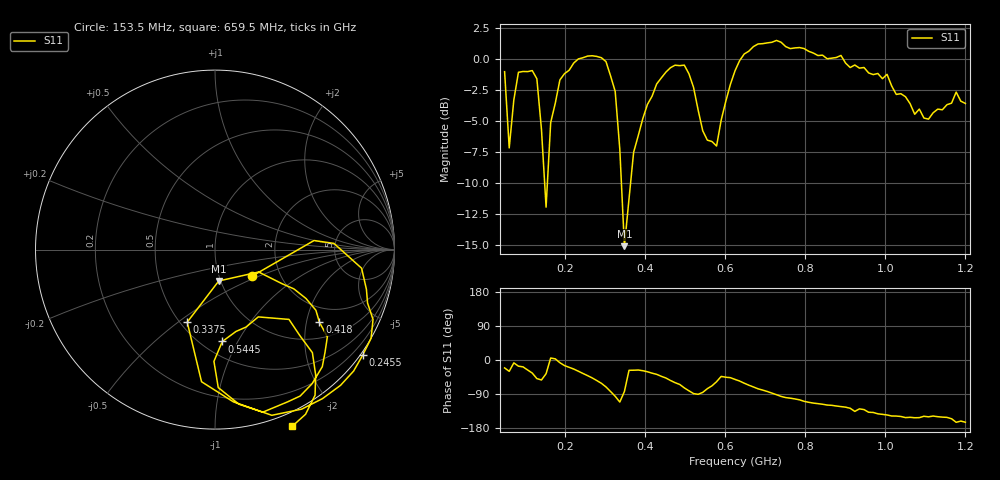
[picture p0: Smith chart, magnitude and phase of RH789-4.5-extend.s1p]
# HZ S RI R 50
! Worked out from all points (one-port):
!   101 points, 50 MHz to 1.2 GHz, reference 50 ohm
!   lowest |S11| = -15.1 dB at 349 MHz (marker M1), VSWR 1.43, Z = 49 - j17.7 ohm
!   |S11| at or under -10 dB: 149.9 MHz to 156.8 MHz (6.845 MHz wide, 4.46 % of centre); 341.5 MHz to 364.4 MHz (22.88 MHz wide, 6.48 % of centre)
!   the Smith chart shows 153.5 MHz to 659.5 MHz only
!   S11 on the Smith chart (normalised r, x): 153.5 MHz: 1.43, -0.46; 245.5 MHz: -0.06, -3.12; 337.5 MHz: 0.54, -0.54; 418 MHz: 1.48, -2.39; 544.5 MHz: 0.62, -0.87; 659.5 MHz: -0.12, -1.52
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5e7  0.8302 -0.3164
6.15e7  0.3798 -0.2185
7.3e7  0.6775 -0.0905
8.45e7  0.8481 -0.2478
1.305e8  0.5445 -0.6289
1.535e8  0.2041 -0.1493
1.65e8  0.5518 0.0506
1.765e8  0.6628 0.0345
1.995e8  0.8438 -0.222
2.455e8  0.8232 -0.5874
3.03e8  0.3164 -0.9232
3.26e8  -0.075 -0.7362
3.375e8  -0.1548 -0.4043
3.49e8  0.021 -0.1748
3.72e8  0.3751 -0.1908
4.18e8  0.5813 -0.4035
4.87e8  0.4044 -0.8483
5.215e8  0.0181 -0.7687
5.445e8  0.0408 -0.5119
5.905e8  0.4123 -0.389
6.25e8  0.5609 -0.6981
6.595e8  0.4291 -0.9853
7.285e8  -0.0325 -1.187
7.745e8  -0.2442 -1.08
9.125e8  -0.5605 -0.7341
1.0045e9  -0.7105 -0.4968
1.062e9  -0.579 -0.3175
1.2e9  -0.637 -0.1802
